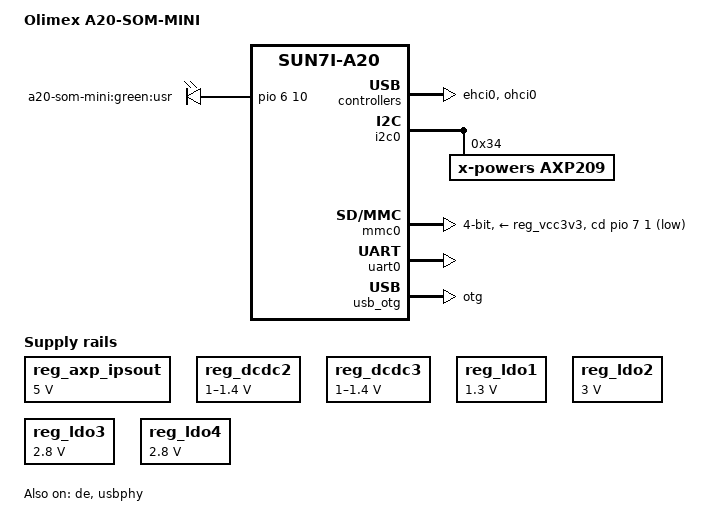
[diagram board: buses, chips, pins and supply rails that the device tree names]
// SPDX-License-Identifier: (GPL-2.0+ OR MIT)
/*
 * Device tree for Olimex A20-SOM-MINI
 *
 * Copyright (C) 2026 Olimex Ltd.
 */

/dts-v1/;
#include "sun7i-a20.dtsi"
#include "sunxi-common-regulators.dtsi"

#include <dt-bindings/gpio/gpio.h>
#include <dt-bindings/interrupt-controller/irq.h>

/ {
	model = "Olimex A20-SOM-MINI";
	compatible = "olimex,a20-som-mini", "allwinner,sun7i-a20";

	aliases {
		serial0 = &uart0;
	};

	chosen {
		stdout-path = "serial0:115200n8";
	};

	leds {
		compatible = "gpio-leds";
		pinctrl-names = "default";
		pinctrl-0 = <&led_pins_sommini>;

		green {
			label = "a20-som-mini:green:usr";
			gpios = <&pio 6 10 GPIO_ACTIVE_HIGH>; /* PG10 */
			default-state = "on";
		};
	};

	reg_axp_ipsout: axp_ipsout {
		compatible = "regulator-fixed";
		regulator-name = "axp-ipsout";
		regulator-min-microvolt = <5000000>;
		regulator-max-microvolt = <5000000>;
		regulator-always-on;
	};
};

&de {
	status = "okay";
};

&ehci0 {
	status = "okay";
};

&i2c0 {
	status = "okay";

	axp209: pmic@34 {
		compatible = "x-powers,axp209";
		reg = <0x34>;
		interrupt-parent = <&nmi_intc>;
		interrupts = <0 IRQ_TYPE_LEVEL_LOW>;

		interrupt-controller;
		#interrupt-cells = <1>;
	};
};

&mmc0 {
	vmmc-supply = <&reg_vcc3v3>;
	bus-width = <4>;
	cd-gpios = <&pio 7 1 GPIO_ACTIVE_LOW>; /* PH1 */
	status = "okay";
};

&ohci0 {
	status = "okay";
};

&otg_sram {
	status = "okay";
};

&pio {
	led_pins_sommini: led-pins {
		pins = "PG10";
		function = "gpio_out";
		drive-strength = <20>;
	};
};

#include "axp209.dtsi"

&ac_power_supply {
	status = "okay";
};

&battery_power_supply {
	status = "okay";
};

&reg_dcdc2 {
	regulator-always-on;
	regulator-min-microvolt = <1000000>;
	regulator-max-microvolt = <1400000>;
	regulator-name = "vdd-cpu";
};

&reg_dcdc3 {
	regulator-always-on;
	regulator-min-microvolt = <1000000>;
	regulator-max-microvolt = <1400000>;
	regulator-name = "vdd-int-dll";
};

&reg_ldo1 {
	regulator-always-on;
	regulator-min-microvolt = <1300000>;
	regulator-max-microvolt = <1300000>;
	regulator-name = "vdd-rtc";
};

&reg_ldo2 {
	regulator-always-on;
	regulator-min-microvolt = <3000000>;
	regulator-max-microvolt = <3000000>;
	regulator-name = "avcc";
};

/* VCC-PE */
&reg_ldo3 {
	regulator-always-on;
	regulator-min-microvolt = <2800000>;
	regulator-max-microvolt = <2800000>;
	regulator-name = "vddio-csi0";
};

/* VCC-PG */
&reg_ldo4 {
	regulator-always-on;
	regulator-min-microvolt = <2800000>;
	regulator-max-microvolt = <2800000>;
	regulator-name = "vddio-csi1";
};

&reg_usb0_vbus {
	status = "okay";
};

&uart0 {
	pinctrl-names = "default";
	pinctrl-0 = <&uart0_pb_pins>;
	status = "okay";
};

&usb_otg {
	dr_mode = "otg";
	status = "okay";
};

&usbphy {
	usb0_id_det-gpios = <&pio 7 4 (GPIO_ACTIVE_HIGH | GPIO_PULL_UP)>; /* PH4 */
	usb0_vbus_det-gpios = <&pio 7 5 (GPIO_ACTIVE_HIGH | GPIO_PULL_DOWN)>; /* PH5 */
	usb0_vbus-supply = <&reg_usb0_vbus>;
	status = "okay";
};
